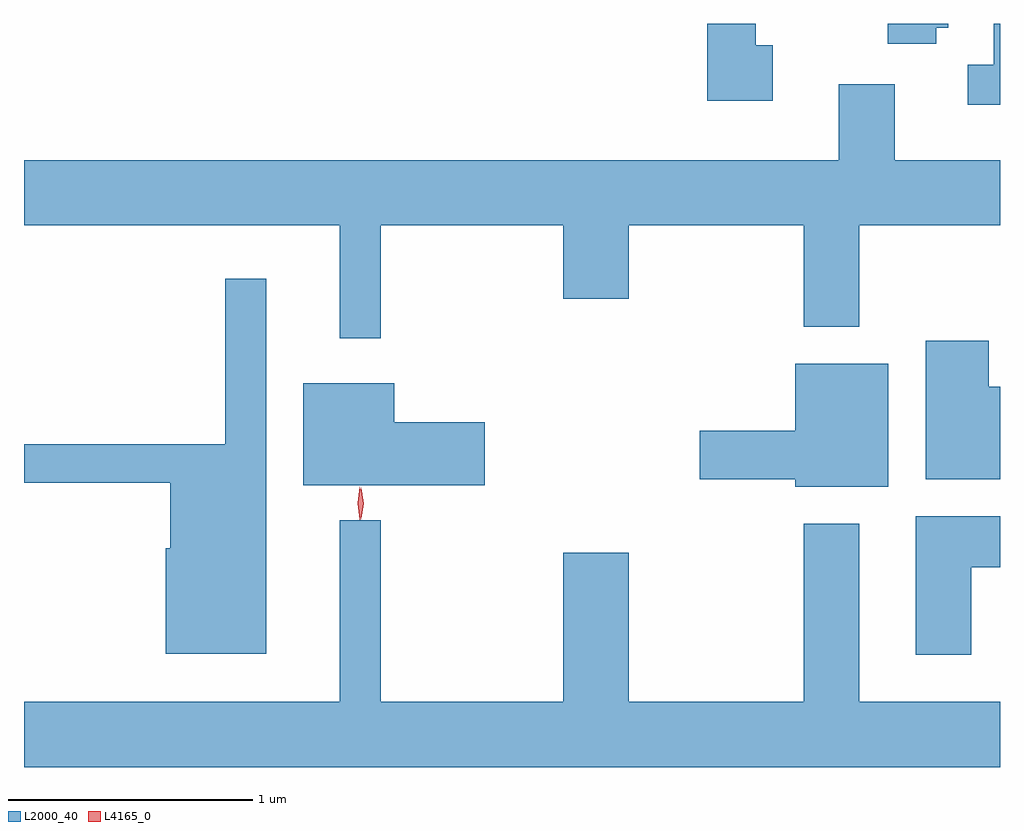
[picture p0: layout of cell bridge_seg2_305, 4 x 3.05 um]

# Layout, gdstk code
import gdstk
lib = gdstk.Library(unit=1e-6, precision=1e-09)
def P(c, l, *ps):  # polygons
    for p in ps: c.add(gdstk.Polygon(p, *l))
L2000_40 = (2000, 40)
L4165_0 = (4165, 0)

bridge_seg2_305 = lib.new_cell('bridge_seg2_305')
P(bridge_seg2_305, L2000_40, [(436.646,1064.682),(436.621,1064.682),(436.621,1064.514),(436.513,1064.514),(436.513,1064.351),(436.646,1064.351)],
  [(436.384,1064.666),(436.434,1064.666),(436.434,1064.682),(436.186,1064.682),(436.186,1064.601),(436.384,1064.601)],
  [(435.714,1064.594),(435.644,1064.594),(435.644,1064.682),(435.446,1064.682),(435.446,1064.366),(435.714,1064.366)],
  [(434.109,1063.856),(434.856,1063.856),(434.856,1063.556),(435.124,1063.556),(435.124,1063.856),(435.841,1063.856),(435.841,1063.441),(436.069,1063.441),(436.069,1063.856),(436.646,1063.856),(436.646,1064.124),(436.214,1064.124),(436.214,1064.434),(435.986,1064.434),(435.986,1064.124),(432.646,1064.124),(432.646,1063.856),(433.941,1063.856),(433.941,1063.393),(434.109,1063.393)],
  [(433.639,1063.638),(433.471,1063.638),(433.471,1062.959),(432.646,1062.959),(432.646,1062.801),(433.246,1062.801),(433.246,1062.534),(433.226,1062.534),(433.226,1062.101),(433.639,1062.101)],
  [(436.646,1063.194),(436.599,1063.194),(436.599,1063.384),(436.341,1063.384),(436.341,1062.816),(436.646,1062.816)],
  [(436.189,1063.289),(435.806,1063.289),(435.806,1063.014),(435.416,1063.014),(435.416,1062.816),(435.806,1062.816),(435.806,1062.786),(436.189,1062.786)],
  [(434.534,1063.049),(434.164,1063.049),(434.164,1063.209),(433.791,1063.209),(433.791,1062.791),(434.534,1062.791)],
  [(436.529,1062.456),(436.646,1062.456),(436.646,1062.664),(436.301,1062.664),(436.301,1062.096),(436.529,1062.096)],
  [(436.646,1061.904),(436.069,1061.904),(436.069,1062.634),(435.841,1062.634),(435.841,1061.904),(435.124,1061.904),(435.124,1062.514),(434.856,1062.514),(434.856,1061.904),(434.109,1061.904),(434.109,1062.648),(433.941,1062.648),(433.941,1061.904),(432.646,1061.904),(432.646,1061.636),(436.646,1061.636)])
P(bridge_seg2_305, L4165_0, [(434.023,1062.65),(434.023,1062.65),(434.013,1062.718),(434.022,1062.785),(434.022,1062.786),(434.023,1062.785),(434.033,1062.718),(434.024,1062.65)],
  [(434.028,1062.653),(434.028,1062.654),(434.018,1062.716),(434.028,1062.78),(434.028,1062.78),(434.029,1062.78),(434.038,1062.716),(434.029,1062.654)])

lib.write_gds('bridge_seg2_305.gds')
